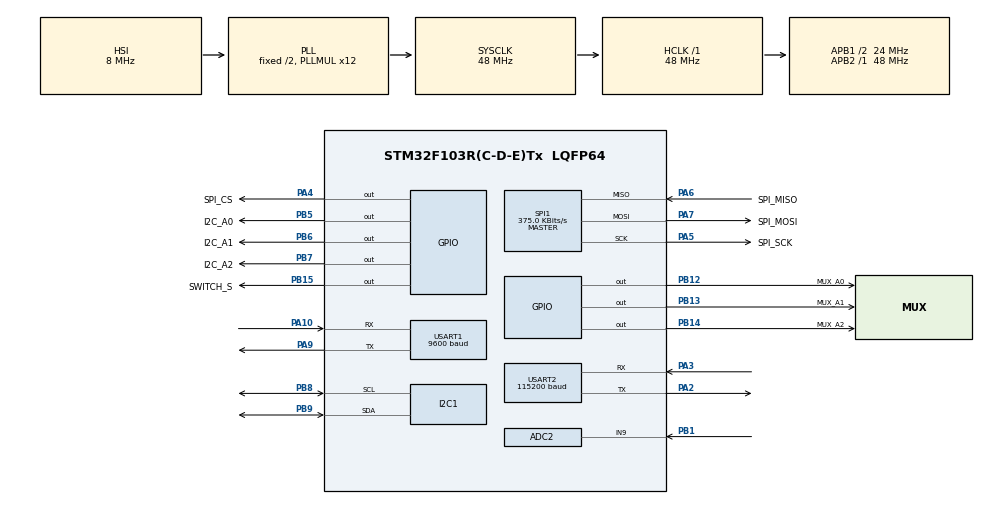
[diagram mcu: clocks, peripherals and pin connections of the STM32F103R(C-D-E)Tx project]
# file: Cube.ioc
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ADC2.Channel-1\#ChannelRegularConversion=ADC_CHANNEL_9
ADC2.ContinuousConvMode=DISABLE
ADC2.NbrOfConversionFlag=1
ADC2.Rank-1\#ChannelRegularConversion=1
ADC2.SamplingTime-1\#ChannelRegularConversion=ADC_SAMPLETIME_1CYCLE_5
FATFS._MAX_SS=4096
FATFS._USE_LFN=0
I2C1.I2C_Mode=I2C_Fast
Mcu.Family=STM32F1
Mcu.Name=STM32F103R(C-D-E)Tx
Mcu.Package=LQFP64
NVIC.PriorityGroup=NVIC_PRIORITYGROUP_4
NVIC.TIM6_IRQn=true\:0\:0\:false\:false\:true\:true\:true\:true
NVIC.TIM7_IRQn=true\:0\:0\:false\:false\:true\:true\:true\:true
NVIC.USART1_IRQn=true\:0\:0\:false\:false\:true\:true\:true\:true
NVIC.USART2_IRQn=true\:0\:0\:false\:false\:true\:true\:true\:true
PA10.Mode=Asynchronous
PA10.Signal=USART1_RX
PA13.Mode=Serial_Wire
PA13.Signal=SYS_JTMS-SWDIO
PA14.Mode=Serial_Wire
PA14.Signal=SYS_JTCK-SWCLK
PA2.Mode=Asynchronous
PA2.Signal=USART2_TX
PA3.Mode=Asynchronous
PA3.Signal=USART2_RX
PA4.GPIO_Label=SPI_CS
PA4.GPIO_PuPd=GPIO_PULLUP
PA4.Signal=GPIO_Output
PA5.GPIO_Label=SPI_SCK
PA5.Mode=Full_Duplex_Master
PA5.Signal=SPI1_SCK
PA6.GPIO_Label=SPI_MISO
PA6.Mode=Full_Duplex_Master
PA6.Signal=SPI1_MISO
PA7.GPIO_Label=SPI_MOSI
PA7.Mode=Full_Duplex_Master
PA7.Signal=SPI1_MOSI
PA9.Mode=Asynchronous
PA9.Signal=USART1_TX
PB1.Signal=ADCx_IN9
PB12.GPIO_Label=MUX_A0
PB12.Signal=GPIO_Output
PB13.GPIO_Label=MUX_A1
PB13.Signal=GPIO_Output
PB14.GPIO_Label=MUX_A2
PB14.Signal=GPIO_Output
PB15.GPIO_Label=SWITCH_S
PB15.Signal=GPIO_Output
PB5.GPIO_Label=I2C_A0
PB5.Signal=GPIO_Output
PB6.GPIO_Label=I2C_A1
PB6.Signal=GPIO_Output
PB7.GPIO_Label=I2C_A2
PB7.Signal=GPIO_Output
PB8.Mode=I2C
PB8.Signal=I2C1_SCL
PB9.Mode=I2C
PB9.Signal=I2C1_SDA
PC14-OSC32_IN.Mode=LSE-External-Oscillator
PC14-OSC32_IN.Signal=RCC_OSC32_IN
PC15-OSC32_OUT.Mode=LSE-External-Oscillator
PC15-OSC32_OUT.Signal=RCC_OSC32_OUT
PD0-OSC_IN.Mode=HSE-External-Oscillator
PD0-OSC_IN.Signal=RCC_OSC_IN
PD1-OSC_OUT.Mode=HSE-External-Oscillator
PD1-OSC_OUT.Signal=RCC_OSC_OUT
ProjectManager.HeapSize=0x200
ProjectManager.StackSize=0x400
ProjectManager.TargetToolchain=MDK-ARM V5.32
RCC.ADCPresc=RCC_ADCPCLK2_DIV4
RCC.AHBFreq_Value=48000000
RCC.APB1CLKDivider=RCC_HCLK_DIV2
RCC.APB1Freq_Value=24000000
RCC.APB1TimFreq_Value=48000000
RCC.APB2Freq_Value=48000000
RCC.APB2TimFreq_Value=48000000
RCC.HCLKFreq_Value=48000000
RCC.HSE_VALUE=16000000
RCC.PLLMUL=RCC_PLL_MUL12
RCC.SYSCLKFreq_VALUE=48000000
RCC.SYSCLKSource=RCC_SYSCLKSOURCE_PLLCLK
RCC.USBFreq_Value=48000000
RTC.Date=12
RTC.Hours=22
RTC.Minutes=13
RTC.Month=RTC_MONTH_MAY
RTC.Seconds=59
RTC.WeekDay=RTC_WEEKDAY_SUNDAY
SH.ADCx_IN9.0=ADC2_IN9,IN9
SPI1.BaudRatePrescaler=SPI_BAUDRATEPRESCALER_128
SPI1.CalculateBaudRate=375.0 KBits/s
SPI1.Direction=SPI_DIRECTION_2LINES
SPI1.Mode=SPI_MODE_MASTER
SPI1.VirtualType=VM_MASTER
TIM6.Period=24000
TIM6.Prescaler=1000
TIM7.Period=24000
TIM7.Prescaler=1000
USART1.BaudRate=9600
USART1.VirtualMode=VM_ASYNC
USART2.BaudRate=115200
USART2.VirtualMode=VM_ASYNC
VP_FATFS_VS_Generic.Mode=User_defined
VP_RTC_VS_RTC_Activate.Mode=RTC_Enabled
VP_RTC_VS_RTC_Calendar.Mode=RTC_Calendar
VP_TIM6_VS_ClockSourceINT.Mode=Enable_Timer
VP_TIM7_VS_ClockSourceINT.Mode=Enable_Timer
board=custom

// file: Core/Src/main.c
/* USER CODE BEGIN Header */
/**
  ******************************************************************************
  * @file           : main.c
  * @brief          : Main program body
  ******************************************************************************
  * @attention
  *
  * Copyright (c) 2024 STMicroelectronics.
  * All rights reserved.
  *
  * This software is licensed under terms that can be found in the LICENSE file
  * in the root directory of this software component.
  * If no LICENSE file comes with this software, it is provided AS-IS.
  *
  ******************************************************************************
  */
/* USER CODE END Header */
#include "main.h"
#include "fatfs.h"

/* USER CODE BEGIN Includes */
#include <math.h>
#include <stdio.h>
#include <string.h>
#include <fatfs_sd.h>
#include "bmp280.h"
//#include <stc3100.h>
//#include <stc31xx_I2cCustomReadWrite.h>
/* USER CODE END Includes */

/* USER CODE BEGIN PD */
#define CO2_address 0x29<<1

#define EEPROM_I2C_ADDRESS 0xA0

#define STC3100_address 0x70<<1

#define BME280_ADDRESS 0x76<<1
/* USER CODE END PD */

ADC_HandleTypeDef hadc2;

I2C_HandleTypeDef hi2c1;

RTC_HandleTypeDef hrtc;

SPI_HandleTypeDef hspi1;

TIM_HandleTypeDef htim6;
TIM_HandleTypeDef htim7;

UART_HandleTypeDef huart1;
UART_HandleTypeDef huart2;

/* USER CODE BEGIN PV */
char message_buffer[200] = {0};
uint8_t Cmd_End[3] = {0xFF,0xFF,0xFF};  //Nextion komandu pabaiga
char ID_1[4];
char ID_2[9];
uint8_t RX_Nextion;
uint8_t Start=0;
uint8_t SDStart=0;

uint8_t SD_i[8]={};
uint8_t Port = 1;
uint8_t Data;
char dir[20];
char time[9];
char date[10];

//O2 UART
double O2_perc;
char O2_msg[5];
char O2_data[41];
char O2_fixed[41];
char ch = 'O';
uint8_t index_O = 0;

//CO2 I2C
uint8_t CRC_D[2];
uint8_t CO2_Read[2];
uint8_t rawCO2[2];
short s16_CO2;
double CO2_perc;

uint32_t adc_val = 0;
float NTC_Varza = 0;
float NTC_Temp = 0;
float NTC_Volt = 0;

//NTC koeficientai
float A = 5.780e-4;
float B = 2.951e-4;
float C = 7.409e-8;

//Baterijos monitoring
uint8_t data;
uint8_t rawBM[8];
short s16_value;
float batTemp;
float batVolt;

/* USER CODE END PV */

void SystemClock_Config(void);
static void MX_GPIO_Init(void);
static void MX_SPI1_Init(void);
static void MX_ADC2_Init(void);
static void MX_TIM6_Init(void);
static void MX_I2C1_Init(void);
static void MX_USART2_UART_Init(void);
static void MX_USART1_UART_Init(void);
static void MX_RTC_Init(void);
static void MX_TIM7_Init(void);
/* USER CODE BEGIN PFP */
void RTC_Set_Time();
void RTC_Set_Date();
void MUX_SET(uint8_t MUX_S);
void SWITCH_SET(uint8_t SWITCH_S);
void I2C_MUX_SET(uint8_t I2C_S);
void EEPROM_READ(uint8_t *Data);
void NTC_read();
void BatteryMonitor();
void TrimRead();
int32_t BME280_compensate_T_int32(int32_t adc_T);
uint32_t bme280_compensate_H_int32(int32_t adc_H);
/* USER CODE END PFP */

/* USER CODE BEGIN 0 */
FATFS fs;  // file system
FIL fil; // File
FILINFO fno;
FRESULT fresult;  // result
UINT br, bw;  // File read/write count

/**** capacity related *****/
FATFS *pfs;
DWORD fre_clust;
uint32_t total, free_space;
/* USER CODE END 0 */

int main(void)
{

  /* MCU Configuration--------------------------------------------------------*/

  /* Reset of all peripherals, Initializes the Flash interface and the Systick. */
  HAL_Init();

  /* Configure the system clock */
  SystemClock_Config();

  /* Initialize all configured peripherals */
  MX_GPIO_Init();
  MX_SPI1_Init();
  MX_ADC2_Init();
  MX_TIM6_Init();
  MX_I2C1_Init();
  MX_USART2_UART_Init();
  MX_USART1_UART_Init();
  MX_FATFS_Init();
  MX_RTC_Init();
  MX_TIM7_Init();
  /* USER CODE BEGIN 2 */

	HAL_TIM_Base_Start_IT(&htim6);
	HAL_TIM_Base_Start_IT(&htim7);
	HAL_UART_Receive_IT(&huart2, &RX_Nextion, 1);
	HAL_UART_Receive_IT(&huart1, &O2_data, 41);
	if (HAL_ADCEx_Calibration_Start(&hadc2) != HAL_OK)
  {
    Error_Handler();
  }

	RTC_Set_Date();

	//RTC_Set_Time();
	//HAL_RTCEx_BKUPRead(&hrtc, RTC_BKP_DR1);

	if (HAL_RTCEx_BKUPRead(&hrtc, RTC_BKP_DR1) != 0x32F2)
		RTC_Set_Time();

	//if (HAL_RTCEx_BKUPRead(&hrtc, RTC_BKP_DR2) != 0xBEBE

	HAL_GPIO_WritePin(I2C_A0_GPIO_Port, I2C_A0_Pin, GPIO_PIN_SET);
	HAL_GPIO_WritePin(I2C_A1_GPIO_Port, I2C_A1_Pin, GPIO_PIN_SET);
	HAL_GPIO_WritePin(I2C_A2_GPIO_Port, I2C_A2_Pin, GPIO_PIN_SET);

	//CO2 CRC byte isjungimas
	CRC_D[0] = (uint8_t)(0x3768 >> 8);
	CRC_D[1] = (uint8_t)(0x3768);

  /* USER CODE END 2 */

  /* Infinite loop */
  while (1)
  {

  }
}

void SystemClock_Config(void)
{
  RCC_OscInitTypeDef RCC_OscInitStruct = {0};
  RCC_ClkInitTypeDef RCC_ClkInitStruct = {0};
  RCC_PeriphCLKInitTypeDef PeriphClkInit = {0};

  /** Initializes the RCC Oscillators according to the specified parameters
  * in the RCC_OscInitTypeDef structure.
  */
  RCC_OscInitStruct.OscillatorType = RCC_OSCILLATORTYPE_HSI|RCC_OSCILLATORTYPE_LSI;
  RCC_OscInitStruct.HSIState = RCC_HSI_ON;
  RCC_OscInitStruct.HSICalibrationValue = RCC_HSICALIBRATION_DEFAULT;
  RCC_OscInitStruct.LSIState = RCC_LSI_ON;
  RCC_OscInitStruct.PLL.PLLState = RCC_PLL_ON;
  RCC_OscInitStruct.PLL.PLLSource = RCC_PLLSOURCE_HSI_DIV2;
  RCC_OscInitStruct.PLL.PLLMUL = RCC_PLL_MUL12;
  if (HAL_RCC_OscConfig(&RCC_OscInitStruct) != HAL_OK)
  {
    Error_Handler();
  }

  /** Initializes the CPU, AHB and APB buses clocks
  */
  RCC_ClkInitStruct.ClockType = RCC_CLOCKTYPE_HCLK|RCC_CLOCKTYPE_SYSCLK
                              |RCC_CLOCKTYPE_PCLK1|RCC_CLOCKTYPE_PCLK2;
  RCC_ClkInitStruct.SYSCLKSource = RCC_SYSCLKSOURCE_PLLCLK;
  RCC_ClkInitStruct.AHBCLKDivider = RCC_SYSCLK_DIV1;
  RCC_ClkInitStruct.APB1CLKDivider = RCC_HCLK_DIV2;
  RCC_ClkInitStruct.APB2CLKDivider = RCC_HCLK_DIV1;

  if (HAL_RCC_ClockConfig(&RCC_ClkInitStruct, FLASH_LATENCY_1) != HAL_OK)
  {
    Error_Handler();
  }
  PeriphClkInit.PeriphClockSelection = RCC_PERIPHCLK_RTC|RCC_PERIPHCLK_ADC;
  PeriphClkInit.RTCClockSelection = RCC_RTCCLKSOURCE_LSI;
  PeriphClkInit.AdcClockSelection = RCC_ADCPCLK2_DIV4;
  if (HAL_RCCEx_PeriphCLKConfig(&PeriphClkInit) != HAL_OK)
  {
    Error_Handler();
  }
}

static void MX_ADC2_Init(void)
{

  ADC_ChannelConfTypeDef sConfig = {0};

  /** Common config
  */
  hadc2.Instance = ADC2;
  hadc2.Init.ScanConvMode = ADC_SCAN_DISABLE;
  hadc2.Init.ContinuousConvMode = DISABLE;
  hadc2.Init.DiscontinuousConvMode = DISABLE;
  hadc2.Init.ExternalTrigConv = ADC_SOFTWARE_START;
  hadc2.Init.DataAlign = ADC_DATAALIGN_RIGHT;
  hadc2.Init.NbrOfConversion = 1;
  if (HAL_ADC_Init(&hadc2) != HAL_OK)
  {
    Error_Handler();
  }

  /** Configure Regular Channel
  */
  sConfig.Channel = ADC_CHANNEL_9;
  sConfig.Rank = ADC_REGULAR_RANK_1;
  sConfig.SamplingTime = ADC_SAMPLETIME_1CYCLE_5;
  if (HAL_ADC_ConfigChannel(&hadc2, &sConfig) != HAL_OK)
  {
    Error_Handler();
  }

}

static void MX_I2C1_Init(void)
{

  hi2c1.Instance = I2C1;
  hi2c1.Init.ClockSpeed = 400000;
  hi2c1.Init.DutyCycle = I2C_DUTYCYCLE_2;
  hi2c1.Init.OwnAddress1 = 0;
  hi2c1.Init.AddressingMode = I2C_ADDRESSINGMODE_7BIT;
  hi2c1.Init.DualAddressMode = I2C_DUALADDRESS_DISABLE;
  hi2c1.Init.OwnAddress2 = 0;
  hi2c1.Init.GeneralCallMode = I2C_GENERALCALL_DISABLE;
  hi2c1.Init.NoStretchMode = I2C_NOSTRETCH_DISABLE;
  if (HAL_I2C_Init(&hi2c1) != HAL_OK)
  {
    Error_Handler();
  }

}

static void MX_RTC_Init(void)
{

  /** Initialize RTC Only
  */
  hrtc.Instance = RTC;
  hrtc.Init.AsynchPrediv = RTC_AUTO_1_SECOND;
  hrtc.Init.OutPut = RTC_OUTPUTSOURCE_ALARM;
  if (HAL_RTC_Init(&hrtc) != HAL_OK)
  {
    Error_Handler();
  }

}

static void MX_SPI1_Init(void)
{

  /* SPI1 parameter configuration*/
  hspi1.Instance = SPI1;
  hspi1.Init.Mode = SPI_MODE_MASTER;
  hspi1.Init.Direction = SPI_DIRECTION_2LINES;
  hspi1.Init.DataSize = SPI_DATASIZE_8BIT;
  hspi1.Init.CLKPolarity = SPI_POLARITY_LOW;
  hspi1.Init.CLKPhase = SPI_PHASE_1EDGE;
  hspi1.Init.NSS = SPI_NSS_SOFT;
  hspi1.Init.BaudRatePrescaler = SPI_BAUDRATEPRESCALER_128;
  hspi1.Init.FirstBit = SPI_FIRSTBIT_MSB;
  hspi1.Init.TIMode = SPI_TIMODE_DISABLE;
  hspi1.Init.CRCCalculation = SPI_CRCCALCULATION_DISABLE;
  hspi1.Init.CRCPolynomial = 10;
  if (HAL_SPI_Init(&hspi1) != HAL_OK)
  {
    Error_Handler();
  }

}

static void MX_TIM6_Init(void)
{

  TIM_MasterConfigTypeDef sMasterConfig = {0};

  htim6.Instance = TIM6;
  htim6.Init.Prescaler = 1000;
  htim6.Init.CounterMode = TIM_COUNTERMODE_UP;
  htim6.Init.Period = 24000;
  htim6.Init.AutoReloadPreload = TIM_AUTORELOAD_PRELOAD_DISABLE;
  if (HAL_TIM_Base_Init(&htim6) != HAL_OK)
  {
    Error_Handler();
  }
  sMasterConfig.MasterOutputTrigger = TIM_TRGO_RESET;
  sMasterConfig.MasterSlaveMode = TIM_MASTERSLAVEMODE_DISABLE;
  if (HAL_TIMEx_MasterConfigSynchronization(&htim6, &sMasterConfig) != HAL_OK)
  {
    Error_Handler();
  }

}

static void MX_TIM7_Init(void)
{

  TIM_MasterConfigTypeDef sMasterConfig = {0};

  htim7.Instance = TIM7;
  htim7.Init.Prescaler = 1000;
  htim7.Init.CounterMode = TIM_COUNTERMODE_UP;
  htim7.Init.Period = 24000;
  htim7.Init.AutoReloadPreload = TIM_AUTORELOAD_PRELOAD_DISABLE;
  if (HAL_TIM_Base_Init(&htim7) != HAL_OK)
  {
    Error_Handler();
  }
  sMasterConfig.MasterOutputTrigger = TIM_TRGO_RESET;
  sMasterConfig.MasterSlaveMode = TIM_MASTERSLAVEMODE_DISABLE;
  if (HAL_TIMEx_MasterConfigSynchronization(&htim7, &sMasterConfig) != HAL_OK)
  {
    Error_Handler();
  }

}

static void MX_USART1_UART_Init(void)
{

  huart1.Instance = USART1;
  huart1.Init.BaudRate = 9600;
  huart1.Init.WordLength = UART_WORDLENGTH_8B;
  huart1.Init.StopBits = UART_STOPBITS_1;
  huart1.Init.Parity = UART_PARITY_NONE;
  huart1.Init.Mode = UART_MODE_TX_RX;
  huart1.Init.HwFlowCtl = UART_HWCONTROL_NONE;
  huart1.Init.OverSampling = UART_OVERSAMPLING_16;
  if (HAL_UART_Init(&huart1) != HAL_OK)
  {
    Error_Handler();
  }

}

static void MX_USART2_UART_Init(void)
{

  huart2.Instance = USART2;
  huart2.Init.BaudRate = 115200;
  huart2.Init.WordLength = UART_WORDLENGTH_8B;
  huart2.Init.StopBits = UART_STOPBITS_1;
  huart2.Init.Parity = UART_PARITY_NONE;
  huart2.Init.Mode = UART_MODE_TX_RX;
  huart2.Init.HwFlowCtl = UART_HWCONTROL_NONE;
  huart2.Init.OverSampling = UART_OVERSAMPLING_16;
  if (HAL_UART_Init(&huart2) != HAL_OK)
  {
    Error_Handler();
  }

}

static void MX_GPIO_Init(void)
{
  GPIO_InitTypeDef GPIO_InitStruct = {0};

  /* GPIO Ports Clock Enable */
  __HAL_RCC_GPIOC_CLK_ENABLE();
  __HAL_RCC_GPIOD_CLK_ENABLE();
  __HAL_RCC_GPIOA_CLK_ENABLE();
  __HAL_RCC_GPIOB_CLK_ENABLE();

  /*Configure GPIO pin Output Level */
  HAL_GPIO_WritePin(SPI_CS_GPIO_Port, SPI_CS_Pin, GPIO_PIN_RESET);

  /*Configure GPIO pin Output Level */
  HAL_GPIO_WritePin(GPIOB, MUX_A0_Pin|MUX_A1_Pin|MUX_A2_Pin|SWITCH_S_Pin
                          |I2C_A0_Pin|I2C_A1_Pin|I2C_A2_Pin, GPIO_PIN_RESET);

  /*Configure GPIO pin : SPI_CS_Pin */
  GPIO_InitStruct.Pin = SPI_CS_Pin;
  GPIO_InitStruct.Mode = GPIO_MODE_OUTPUT_PP;
  GPIO_InitStruct.Pull = GPIO_PULLUP;
  GPIO_InitStruct.Speed = GPIO_SPEED_FREQ_LOW;
  HAL_GPIO_Init(SPI_CS_GPIO_Port, &GPIO_InitStruct);

  /*Configure GPIO pins : MUX_A0_Pin MUX_A1_Pin MUX_A2_Pin SWITCH_S_Pin
                           I2C_A0_Pin I2C_A1_Pin I2C_A2_Pin */
  GPIO_InitStruct.Pin = MUX_A0_Pin|MUX_A1_Pin|MUX_A2_Pin|SWITCH_S_Pin
                          |I2C_A0_Pin|I2C_A1_Pin|I2C_A2_Pin;
  GPIO_InitStruct.Mode = GPIO_MODE_OUTPUT_PP;
  GPIO_InitStruct.Pull = GPIO_NOPULL;
  GPIO_InitStruct.Speed = GPIO_SPEED_FREQ_LOW;
  HAL_GPIO_Init(GPIOB, &GPIO_InitStruct);

}

/* USER CODE BEGIN 4 */

void RTC_Set_Date()
{
	RTC_DateTypeDef DateToUpdate = {0};

	DateToUpdate.WeekDay = RTC_WEEKDAY_WEDNESDAY;
  DateToUpdate.Month = RTC_MONTH_JUNE;
  DateToUpdate.Date = 0x05;
  DateToUpdate.Year = 0x24;

  if (HAL_RTC_SetDate(&hrtc, &DateToUpdate, RTC_FORMAT_BCD) != HAL_OK)
  {
    Error_Handler();
  }
}

void RTC_Set_Time()
{
	RTC_TimeTypeDef sTime = {0};

  sTime.Hours = 0x07;
  sTime.Minutes = 0x45;
  sTime.Seconds = 0x15;

  if (HAL_RTC_SetTime(&hrtc, &sTime, RTC_FORMAT_BCD) != HAL_OK)
  {
    Error_Handler();
  }

	HAL_RTCEx_BKUPWrite(&hrtc, RTC_BKP_DR1, 0x32F2);
}

//Multiplekserio kanalo parinkimas
void MUX_SET(uint8_t MUX_S)
{
	switch(MUX_S)
	{
		case 1:
			HAL_GPIO_WritePin(MUX_A2_GPIO_Port, MUX_A2_Pin, GPIO_PIN_SET);
			HAL_GPIO_WritePin(MUX_A1_GPIO_Port, MUX_A1_Pin, GPIO_PIN_SET);
			HAL_GPIO_WritePin(MUX_A0_GPIO_Port, MUX_A0_Pin, GPIO_PIN_SET);
			break;
		case 2:
			HAL_GPIO_WritePin(MUX_A2_GPIO_Port, MUX_A2_Pin, GPIO_PIN_SET);
			HAL_GPIO_WritePin(MUX_A1_GPIO_Port, MUX_A1_Pin, GPIO_PIN_SET);
			HAL_GPIO_WritePin(MUX_A0_GPIO_Port, MUX_A0_Pin, GPIO_PIN_RESET);
			break;
		case 3:
			HAL_GPIO_WritePin(MUX_A2_GPIO_Port, MUX_A2_Pin, GPIO_PIN_SET);
			HAL_GPIO_WritePin(MUX_A1_GPIO_Port, MUX_A1_Pin, GPIO_PIN_RESET);
			HAL_GPIO_WritePin(MUX_A0_GPIO_Port, MUX_A0_Pin, GPIO_PIN_SET);
			break;
		case 4:
			HAL_GPIO_WritePin(MUX_A2_GPIO_Port, MUX_A2_Pin, GPIO_PIN_SET);
			HAL_GPIO_WritePin(MUX_A1_GPIO_Port, MUX_A1_Pin, GPIO_PIN_RESET);
			HAL_GPIO_WritePin(MUX_A0_GPIO_Port, MUX_A0_Pin, GPIO_PIN_RESET);
			break;
		case 5:
			HAL_GPIO_WritePin(MUX_A2_GPIO_Port, MUX_A2_Pin, GPIO_PIN_RESET);
			HAL_GPIO_WritePin(MUX_A1_GPIO_Port, MUX_A1_Pin, GPIO_PIN_SET);
			HAL_GPIO_WritePin(MUX_A0_GPIO_Port, MUX_A0_Pin, GPIO_PIN_SET);
			break;
		case 6:
			HAL_GPIO_WritePin(MUX_A2_GPIO_Port, MUX_A2_Pin, GPIO_PIN_RESET);
			HAL_GPIO_WritePin(MUX_A1_GPIO_Port, MUX_A1_Pin, GPIO_PIN_SET);
			HAL_GPIO_WritePin(MUX_A0_GPIO_Port, MUX_A0_Pin, GPIO_PIN_RESET);
			break;
		case 7:
			HAL_GPIO_WritePin(MUX_A2_GPIO_Port, MUX_A2_Pin, GPIO_PIN_RESET);
			HAL_GPIO_WritePin(MUX_A1_GPIO_Port, MUX_A1_Pin, GPIO_PIN_RESET);
			HAL_GPIO_WritePin(MUX_A0_GPIO_Port, MUX_A0_Pin, GPIO_PIN_SET);
			break;
		case 8:
			HAL_GPIO_WritePin(MUX_A2_GPIO_Port, MUX_A2_Pin, GPIO_PIN_RESET);
			HAL_GPIO_WritePin(MUX_A1_GPIO_Port, MUX_A1_Pin, GPIO_PIN_RESET);
			HAL_GPIO_WritePin(MUX_A0_GPIO_Port, MUX_A0_Pin, GPIO_PIN_RESET);
			break;
	}
}

void SWITCH_SET(uint8_t SWITCH_S)
{
	switch(SWITCH_S)
	{
		case 1: //UART RX
			HAL_GPIO_WritePin(SWITCH_S_GPIO_Port, SWITCH_S_Pin, GPIO_PIN_RESET);
			break;

		case 2: //ADC_IN
			HAL_GPIO_WritePin(SWITCH_S_GPIO_Port, SWITCH_S_Pin, GPIO_PIN_SET);
			break;
	}
}

void HAL_UART_RxCpltCallback(UART_HandleTypeDef *huart)
{

	if(RX_Nextion==0xB1)
		Start=1;
	else if(RX_Nextion==0xB2)
		Start=0;
	else if(RX_Nextion==0xB3)
		SDStart=1;
	else if(RX_Nextion==0xB4)
		SDStart=0;

	else if(RX_Nextion==0x01){
		__HAL_TIM_SET_PRESCALER(&htim7, 2000);   //1sek.
		fresult = f_mount(&fs, "/", 1); // Ijungiamas SPI CS
		sprintf(dir, "/Temp.txt"); // Sukuriama direktorija

		// Atidaromas failas arba sukuriamas, jeigu neegzistuoja
		fresult = f_open(&fil, dir, FA_OPEN_ALWAYS | FA_READ | FA_WRITE );
		fresult = f_lseek(&fil, fil.fsize);

		// Irasomi duomenys
		f_puts("Irasymo periodas: 1sek.\n", &fil);

		// Failas uzdaromas
		fresult = f_close(&fil);

		sprintf(dir, "/O2.txt"); // Sukuriama direktorija

		// Atidaromas failas arba sukuriamas, jeigu neegzistuoja
		fresult = f_open(&fil, dir, FA_OPEN_ALWAYS | FA_READ | FA_WRITE );
		fresult = f_lseek(&fil, fil.fsize);

		// Irasomi duomenys
		f_puts("Irasymo periodas: 1sek.\n", &fil);

		// Failas uzdaromas
		fresult = f_close(&fil);

		sprintf(dir, "/CO2.txt");

		// Open file to write/ create a file if it doesn't exist
		fresult = f_open(&fil, dir, FA_OPEN_ALWAYS | FA_READ | FA_WRITE );
		fresult = f_lseek(&fil, fil.fsize);

		// Irasomi duomenys
		f_puts("Irasymo periodas: 1sek.\n", &fil);

		// Failas uzdaromas
		fresult = f_close(&fil);
	}

	else if(RX_Nextion==0x02){
		__HAL_TIM_SET_PRESCALER(&htim7, 20000);  //10sek.
		fresult = f_mount(&fs, "/", 1); // Ijungiamas SPI CS
		sprintf(dir, "/Temp.txt"); // Sukuriama direktorija

		// Atidaromas failas arba sukuriamas, jeigu neegzistuoja
		fresult = f_open(&fil, dir, FA_OPEN_ALWAYS | FA_READ | FA_WRITE );
		fresult = f_lseek(&fil, fil.fsize);

		// Irasomi duomenys
		f_puts("Irasymo periodas: 10sek.\n", &fil);

		// Failas uzdaromas
		fresult = f_close(&fil);

		sprintf(dir, "/O2.txt"); // Sukuriama direktorija

		// Atidaromas failas arba sukuriamas, jeigu neegzistuoja
		fresult = f_open(&fil, dir, FA_OPEN_ALWAYS | FA_READ | FA_WRITE );
		fresult = f_lseek(&fil, fil.fsize);

		// Irasomi duomenys
		f_puts("Irasymo periodas: 10sek.\n", &fil);

		// Failas uzdaromas
		fresult = f_close(&fil);

		sprintf(dir, "/CO2.txt");

		// Open file to write/ create a file if it doesn't exist
		fresult = f_open(&fil, dir, FA_OPEN_ALWAYS | FA_READ | FA_WRITE );
		fresult = f_lseek(&fil, fil.fsize);

		// Irasomi duomenys
		f_puts("Irasymo periodas: 10sek.\n", &fil);

		// Failas uzdaromas
		fresult = f_close(&fil);
	}

	else if(RX_Nextion==0x03){
		__HAL_TIM_SET_PRESCALER(&htim7, 60600);  //30sek.
		fresult = f_mount(&fs, "/", 1); // Ijungiamas SPI CS
		sprintf(dir, "/Temp.txt"); // Sukuriama direktorija

		// Atidaromas failas arba sukuriamas, jeigu neegzistuoja
		fresult = f_open(&fil, dir, FA_OPEN_ALWAYS | FA_READ | FA_WRITE );
		fresult = f_lseek(&fil, fil.fsize);

		// Irasomi duomenys
		f_puts("Irasymo periodas: 30sek.\n", &fil);

		// Failas uzdaromas
		fresult = f_close(&fil);

		sprintf(dir, "/O2.txt"); // Sukuriama direktorija

		// Atidaromas failas arba sukuriamas, jeigu neegzistuoja
		fresult = f_open(&fil, dir, FA_OPEN_ALWAYS | FA_READ | FA_WRITE );
		fresult = f_lseek(&fil, fil.fsize);

		// Irasomi duomenys
		f_puts("Irasymo periodas: 30sek.\n", &fil);

		// Failas uzdaromas
		fresult = f_close(&fil);

		sprintf(dir, "/CO2.txt");

		// Open file to write/ create a file if it doesn't exist
		fresult = f_open(&fil, dir, FA_OPEN_ALWAYS | FA_READ | FA_WRITE );
		fresult = f_lseek(&fil, fil.fsize);

		// Irasomi duomenys
		f_puts("Irasymo periodas: 30sek.\n", &fil);

		// Failas uzdaromas
		fresult = f_close(&fil);
	}

	else if(RX_Nextion==0x04){
		__HAL_TIM_SET_PRESCALER(&htim7, 106000); //1min.
		fresult = f_mount(&fs, "/", 1); // Ijungiamas SPI CS
		sprintf(dir, "/Temp.txt"); // Sukuriama direktorija

		// Atidaromas failas arba sukuriamas, jeigu neegzistuoja
		fresult = f_open(&fil, dir, FA_OPEN_ALWAYS | FA_READ | FA_WRITE );
		fresult = f_lseek(&fil, fil.fsize);

		// Irasomi duomenys
		f_puts("Irasymo periodas: 1min.\n", &fil);

		// Failas uzdaromas
		fresult = f_close(&fil);

		sprintf(dir, "/O2.txt"); // Sukuriama direktorija

		// Atidaromas failas arba sukuriamas, jeigu neegzistuoja
		fresult = f_open(&fil, dir, FA_OPEN_ALWAYS | FA_READ | FA_WRITE );
		fresult = f_lseek(&fil, fil.fsize);

		// Irasomi duomenys
		f_puts("Irasymo periodas: 1min.\n", &fil);

		// Failas uzdaromas
		fresult = f_close(&fil);

		sprintf(dir, "/CO2.txt");

		// Open file to write/ create a file if it doesn't exist
		fresult = f_open(&fil, dir, FA_OPEN_ALWAYS | FA_READ | FA_WRITE );
		fresult = f_lseek(&fil, fil.fsize);

		// Irasomi duomenys
		f_puts("Irasymo periodas: 1min.\n", &fil);

		// Failas uzdaromas
		fresult = f_close(&fil);
	}

	else if(RX_Nextion==0x05){
		__HAL_TIM_SET_PRESCALER(&htim7, 606000); //5min.
		fresult = f_mount(&fs, "/", 1); // Ijungiamas SPI CS
		sprintf(dir, "/Temp.txt"); // Sukuriama direktorija

		// Atidaromas failas arba sukuriamas, jeigu neegzistuoja
		fresult = f_open(&fil, dir, FA_OPEN_ALWAYS | FA_READ | FA_WRITE );
		fresult = f_lseek(&fil, fil.fsize);

		// Irasomi duomenys
		f_puts("Irasymo periodas: 5min.\n", &fil);

		// Failas uzdaromas
		fresult = f_close(&fil);

		sprintf(dir, "/O2.txt"); // Sukuriama direktorija

		// Atidaromas failas arba sukuriamas, jeigu neegzistuoja
		fresult = f_open(&fil, dir, FA_OPEN_ALWAYS | FA_READ | FA_WRITE );
		fresult = f_lseek(&fil, fil.fsize);

		// Irasomi duomenys
		f_puts("Irasymo periodas: 5min.\n", &fil);

		// Failas uzdaromas
		fresult = f_close(&fil);

		sprintf(dir, "/CO2.txt");

		// Open file to write/ create a file if it doesn't exist
		fresult = f_open(&fil, dir, FA_OPEN_ALWAYS | FA_READ | FA_WRITE );
		fresult = f_lseek(&fil, fil.fsize);

		// Irasomi duomenys
		f_puts("Irasymo periodas: 5min.\n", &fil);

		// Failas uzdaromas
		fresult = f_close(&fil);
	}

  HAL_UART_Receive_IT(&huart2, &RX_Nextion, 1); //Ekrano pertrauktis

	HAL_UART_Receive_IT(&huart1, &O2_data, 41); //O2 pertrauktis

}

void I2C_MUX_SET(uint8_t I2C_S){
  uint8_t channel = 1 << I2C_S;
  HAL_I2C_Master_Transmit(&hi2c1, (0x77 << 1), &channel, 1, 1000);
}

void NTC_READ()
{
	HAL_ADC_Start(&hadc2);
	HAL_ADC_PollForConversion(&hadc2, 30);
	adc_val = HAL_ADC_GetValue(&hadc2);

	NTC_Volt = adc_val * (3.3/4095); // Itampos skaiciavimas (12bit)
	NTC_Varza = (NTC_Volt*10e3)/(3.3-NTC_Volt); //Daliklio formule
	NTC_Temp = 1/(A+B*log(NTC_Varza)+C*pow(log(NTC_Varza),3))-275;
}

void EEPROM_READ(uint8_t *Data)
{
	if (HAL_I2C_Mem_Read(&hi2c1, EEPROM_I2C_ADDRESS, 0x00, 1, Data, 1, 2000)!=HAL_OK)
			{
				SD_i[Port] = 0;
			}
}

void NEXTION_SendString (char *ID, char *string)
{
		char buf[50];
		int len = sprintf (buf, "%s.txt=\"%s\"", ID, string);
		HAL_UART_Transmit(&huart2, (uint8_t *)buf, len, 100);
		HAL_UART_Transmit(&huart2, Cmd_End, 3, 100);
}

void BatteryMonitor()
{
		data = 0x03;
		HAL_I2C_Mem_Write(&hi2c1, (STC3100_address), 0x01, I2C_MEMADD_SIZE_8BIT, &data, 1, 1000);

		data = 0x18;
		HAL_I2C_Mem_Write(&hi2c1, (STC3100_address), 0x00, I2C_MEMADD_SIZE_8BIT, &data, 1, 1000);

		HAL_I2C_Mem_Read(&hi2c1, (STC3100_address), 0x02, I2C_MEMADD_SIZE_8BIT, &rawBM[0], 1, 1000);
		HAL_I2C_Mem_Read(&hi2c1, (STC3100_address), 0x03, I2C_MEMADD_SIZE_8BIT, &rawBM[1], 1, 1000);

		HAL_I2C_Mem_Read(&hi2c1, (STC3100_address), 0x06, I2C_MEMADD_SIZE_8BIT, &rawBM[2], 1, 1000);
		HAL_I2C_Mem_Read(&hi2c1, (STC3100_address), 0x07, I2C_MEMADD_SIZE_8BIT, &rawBM[3], 1, 1000);

		HAL_I2C_Mem_Read(&hi2c1, (STC3100_address), 0x08, I2C_MEMADD_SIZE_8BIT, &rawBM[4], 1, 1000);
		HAL_I2C_Mem_Read(&hi2c1, (STC3100_address), 0x09, I2C_MEMADD_SIZE_8BIT, &rawBM[5], 1, 1000);

		HAL_I2C_Mem_Read(&hi2c1, (STC3100_address), 0x0A, I2C_MEMADD_SIZE_8BIT, &rawBM[6], 1, 1000);
		HAL_I2C_Mem_Read(&hi2c1, (STC3100_address), 0x0B, I2C_MEMADD_SIZE_8BIT, &rawBM[7], 1, 1000);

		s16_value = (rawBM[5] << 8) | rawBM[4];
		batVolt = s16_value * 0.00224;

		s16_value = (rawBM[7] << 8) | rawBM[6];
		batTemp = s16_value * 0.125;

		sprintf(message_buffer, "%0.2f V", batVolt);
		NEXTION_SendString("t23", message_buffer);
		sprintf(message_buffer, "%0.2f °C", batTemp);
		NEXTION_SendString("t25", message_buffer);
}

void HAL_TIM_PeriodElapsedCallback(TIM_HandleTypeDef *htim)
{
  if (htim==&htim6){

		if (Start == 1){

			BatteryMonitor(); // Baterijos monitoringo funkcija

			//Pagrindinis ciklas
			Data = 0x00;
			uint8_t Roll_i = 0;

			if(Port>8){
				Port=1;
			}
			I2C_MUX_SET(Port-1);
			EEPROM_READ(&Data);
			sprintf(ID_1, "t%d", Port+8); //Nextion tekstu ID "t" sudarymas
			sprintf(ID_2, "t%d", Port-1);

			if (Data == 0x01){ //O2 jutiklio ID
				SD_i[Port] = 1;
				MUX_SET(Port);
				SWITCH_SET(1); //UART_RX
				NEXTION_SendString(ID_2, "O2 %");

				for (uint8_t i = 0; i < 41; i++){   //tikrinama visa zinute
					if (strcmp(O2_data[i], ch) == 0){ //ieskoma "O" simbolio
						index_O = i;
						break;
					}
				}

				for (uint8_t j = 0; j < 41; j++){
						if ((j+index_O) > 40){ //Paketo ilgis virsija fiksuota dydi
							O2_fixed[j] = O2_data[Roll_i]; //Simboliai pildomi nuo 0
							Roll_i++;
						}
						else
							O2_fixed[j] = O2_data[j+index_O];
				}

				for (uint8_t i = 0; i < 5; i++)
					O2_msg[i] = O2_fixed[i+27]; //O2 % issaugomi atskirame kintamajame

				sscanf(O2_msg, "%lf", &O2_perc); //Tekstas paverciamas float
				O2_perc = O2_perc + 1;

				if (O2_perc>18 && O2_perc <21.8){
					sprintf(message_buffer, "%0.2f", O2_perc);
					NEXTION_SendString(ID_1, message_buffer);
				}
			}

			else if (Data == 0x02){ //Temperaturos jutiklio ID
				NEXTION_SendString(ID_2, "Temp C");
				SD_i[Port] = 2;
				MUX_SET(Port);
				SWITCH_SET(2); //ADC_IN9
				NTC_READ();
				sprintf(message_buffer, "%0.2f", NTC_Temp);
				NEXTION_SendString(ID_1, message_buffer);
			}

				else if (HAL_I2C_Master_Transmit(&hi2c1, CO2_address, CRC_D, 2, 1000) == HAL_OK){ //CRC isjungimas

				SD_i[Port] = 3;
				NEXTION_SendString(ID_2, "CO2 %");

				uint8_t data[2];
				data[0] = (0x001 >> 8);
				data[1] = 0x001; //CO2 0-100% ore
				HAL_I2C_Mem_Write(&hi2c1, CO2_address, 0x3615, I2C_MEMADD_SIZE_16BIT, data, 2, 1000);

				data[0] = (uint8_t)(0x8000 >> 8);
				data[1] = (uint8_t)(0x8000); // Atramine dregme 50%
				HAL_I2C_Mem_Write(&hi2c1, CO2_address, 0x3624, I2C_MEMADD_SIZE_16BIT, data, 2, 1000);

				CO2_Read[0] = (uint8_t)(0x3639 >> 8); //Nuskaitymo busena
				CO2_Read[1] = (uint8_t)(0x3639);
				HAL_I2C_Master_Transmit(&hi2c1, CO2_address, CO2_Read, 2, 1000);

				HAL_I2C_Master_Receive(&hi2c1, CO2_address, rawCO2, 2, 1000);

				s16_CO2 = (rawCO2[0] << 8) | rawCO2[1];
				CO2_perc = (((s16_CO2 - pow(2,14))/pow(2,15))*100); //Perskaiciuojama i %

				sprintf(message_buffer, "%0.2f", CO2_perc);
				NEXTION_SendString(ID_1, message_buffer);
			}

			else {
				NEXTION_SendString(ID_1, "Empty");
				sprintf(message_buffer, "Slot %d", Port);
				NEXTION_SendString(ID_2, message_buffer);
			}

			Port++;

		}
	}

	if(SDStart==1){

		if (htim==&htim7){

			//Nuskaitomas laikas is RTC
			RTC_DateTypeDef gDate;
			RTC_TimeTypeDef gTime;
			// Get the RTC current Time
			HAL_RTC_GetTime(&hrtc, &gTime, RTC_FORMAT_BIN);
			// Get the RTC current Date
			HAL_RTC_GetDate(&hrtc, &gDate, RTC_FORMAT_BIN);

				for(uint8_t i=0; i<8; i++){

				if(SD_i[i] == 1){

						fresult = f_mount(&fs, "/", 1);
						sprintf(dir, "/O2.txt");

						// Open file to write/ create a file if it doesn't exist
						fresult = f_open(&fil, dir, FA_OPEN_ALWAYS | FA_READ | FA_WRITE );
						fresult = f_lseek(&fil, fil.fsize);

						// Writing text

						sprintf(message_buffer, "O2 konc. procentais: %0.2f -- %2d-%02d-%02d %02d:%02d:%02d\n", O2_perc,
						2000 + gDate.Year, gDate.Month, gDate.Date, gTime.Hours, gTime.Minutes, gTime.Seconds);
						f_puts(message_buffer, &fil);

						// Close file
						fresult = f_close(&fil);
					}

				if(SD_i[i] == 2){

						fresult = f_mount(&fs, "/", 1); // Ijungiamas SPI CS
						sprintf(dir, "/Temp.txt"); // Sukuriama direktorija

						// Atidaromas failas arba sukuriamas, jeigu neegzistuoja
						fresult = f_open(&fil, dir, FA_OPEN_ALWAYS | FA_READ | FA_WRITE );
						fresult = f_lseek(&fil, fil.fsize);

						// Irasomi duomenys
						sprintf(message_buffer, "Temperatura: %0.2f C -- %2d-%02d-%02d %02d:%02d:%02d\n", NTC_Temp,
						2000 + gDate.Year, gDate.Month, gDate.Date, gTime.Hours, gTime.Minutes, gTime.Seconds);
						f_puts(message_buffer, &fil);

						// Failas uzdaromas
						fresult = f_close(&fil);
					}

				if(SD_i[i] == 3){

						fresult = f_mount(&fs, "/", 1);
						sprintf(dir, "/CO2.txt");

						// Open file to write/ create a file if it doesn't exist
						fresult = f_open(&fil, dir, FA_OPEN_ALWAYS | FA_READ | FA_WRITE );
						fresult = f_lseek(&fil, fil.fsize);

						// Writing text

						sprintf(message_buffer, "CO2 konc. procentais: %0.2f -- %2d-%02d-%02d %02d:%02d:%02d\n", CO2_perc,
						2000 + gDate.Year, gDate.Month, gDate.Date, gTime.Hours, gTime.Minutes, gTime.Seconds);
						f_puts(message_buffer, &fil);

						// Close file
						fresult = f_close(&fil);
					}

				}
				if(SDStart==0)
				fresult = f_mount(&fs, "/", 0);
		}
	}
}
/* USER CODE END 4 */

void Error_Handler(void)
{
  __disable_irq();
  while (1)
  {
  }
}
